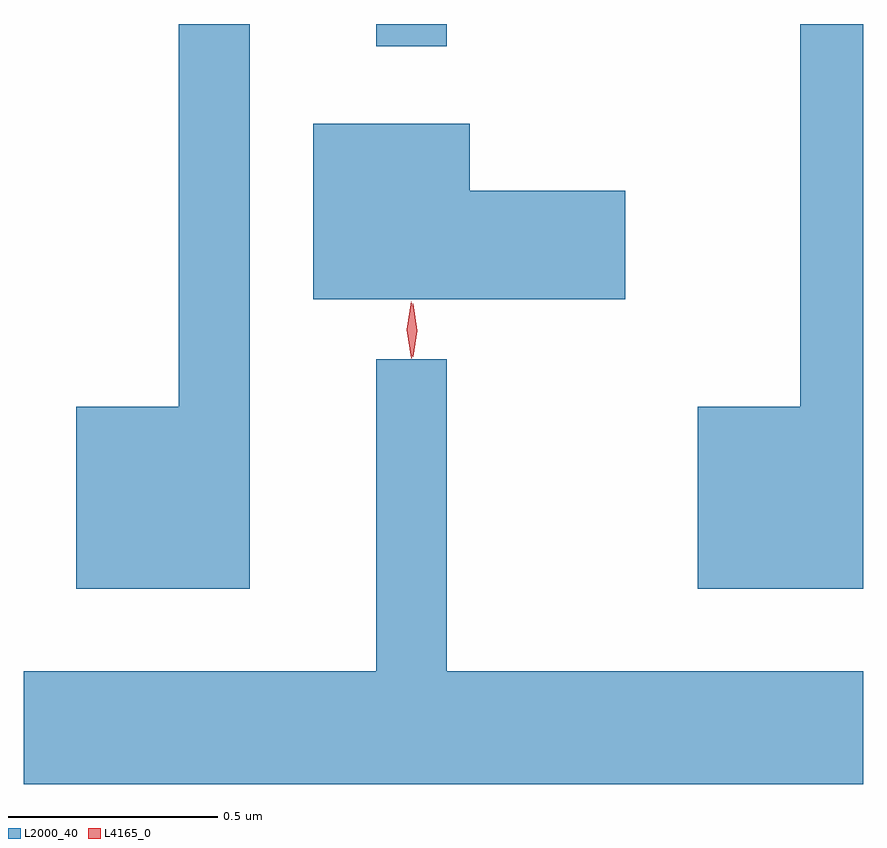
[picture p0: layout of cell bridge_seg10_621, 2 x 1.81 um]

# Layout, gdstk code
import gdstk
lib = gdstk.Library(unit=1e-6, precision=1e-09)
def R(c, l, rs):  # rectangles x0, y0, x1, y1
    for r in rs: c.add(gdstk.rectangle(r[:2], r[2:], *l))
def P(c, l, *ps):  # polygons
    for p in ps: c.add(gdstk.Polygon(p, *l))
L2000_40 = (2000, 40)
L4165_0 = (4165, 0)

bridge_seg10_621 = lib.new_cell('bridge_seg10_621')
R(bridge_seg10_621, L2000_40, [(761.021,2111.233,761.189,2111.286)])
P(bridge_seg10_621, L2000_40, [(760.719,2111.286),(760.551,2111.286),(760.551,2110.374),(760.306,2110.374),(760.306,2109.941),(760.719,2109.941)],
  [(762.181,2111.286),(762.031,2111.286),(762.031,2110.374),(761.786,2110.374),(761.786,2109.941),(762.181,2109.941)],
  [(761.614,2110.889),(761.244,2110.889),(761.244,2111.049),(760.871,2111.049),(760.871,2110.631),(761.614,2110.631)],
  [(762.181,2109.744),(761.189,2109.744),(761.189,2110.488),(761.021,2110.488),(761.021,2109.744),(760.181,2109.744),(760.181,2109.476),(762.181,2109.476)])
P(bridge_seg10_621, L4165_0, [(761.104,2110.49),(761.094,2110.558),(761.104,2110.626),(761.104,2110.626),(761.104,2110.626),(761.114,2110.558),(761.105,2110.49),(761.105,2110.49)],
  [(761.108,2110.493),(761.108,2110.494),(761.098,2110.556),(761.108,2110.62),(761.108,2110.62),(761.109,2110.62),(761.118,2110.556),(761.109,2110.494)])

lib.write_gds('bridge_seg10_621.gds')
